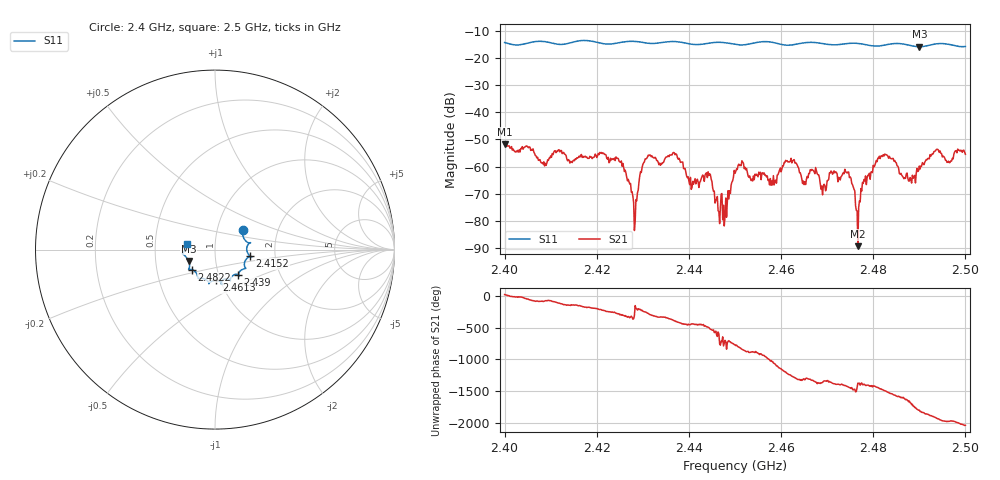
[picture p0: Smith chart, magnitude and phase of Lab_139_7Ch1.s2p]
# Hz S RI R 50
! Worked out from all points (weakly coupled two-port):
!   601 points, 2.4 GHz to 2.5 GHz, reference 50 ohm
!   highest |S21| = -51.85 dB at 2.4 GHz (marker M1); lowest = -89.3 dB at 2.4767 GHz (marker M2)
!   lowest |S11| = -15.9 dB at 2.49 GHz (marker M3), VSWR 1.38, Z = 36.9 - j4.86 ohm
!   |S11| at or under -10 dB: start of sweep to end of sweep
!   S12 and S22 are empty: the file has one direction only
!   S11 on the Smith chart (normalised r, x): 2.4 GHz: 1.33, +0.31; 2.4152 GHz: 1.48, -0.11; 2.439 GHz: 1.24, -0.36; 2.4613 GHz: 0.96, -0.34; 2.4822 GHz: 0.76, -0.17; 2.5 GHz: 0.72, +0.05
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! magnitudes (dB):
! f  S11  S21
! 2.4 GHz  -14.4  -51.8
! 2.4152 GHz  -14.1  -57.8
! 2.4167 GHz  -13.6  -55.6
! 2.4248 GHz  -14.4  -58.0
! 2.4283 GHz  -14.0  -80.2
! 2.4305 GHz  -14.5  -57.2
! 2.4333 GHz  -14.5  -58.4
! 2.439 GHz  -14.5  -60.7
! 2.4443 GHz  -14.6  -63.3
! 2.4478 GHz  -14.4  -78.5
! 2.45 GHz  -15.0  -62.5
! 2.458 GHz  -14.2  -65.3
! 2.4613 GHz  -15.3  -57.8
! 2.4667 GHz  -14.3  -61.0
! 2.4692 GHz  -14.8  -67.1
! 2.4743 GHz  -14.7  -62.4
! 2.4767 GHz  -14.7  -89.3
! 2.4822 GHz  -15.4  -55.6
! 2.4833 GHz  -15.0  -56.9
! 2.488 GHz  -15.4  -64.0
! 2.49 GHz  -15.9  -59.8
! 2.5 GHz  -15.8  -55.5
